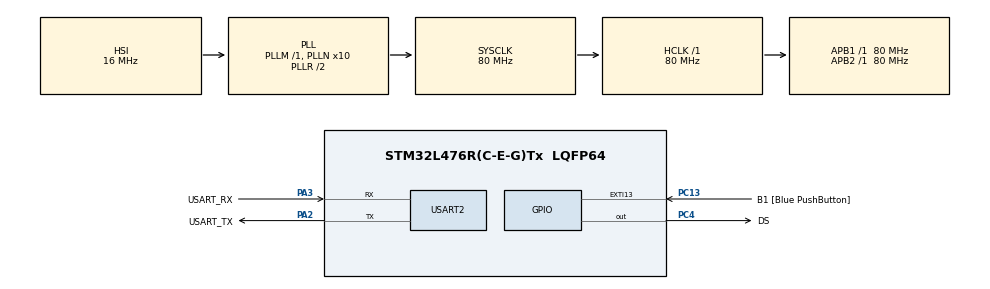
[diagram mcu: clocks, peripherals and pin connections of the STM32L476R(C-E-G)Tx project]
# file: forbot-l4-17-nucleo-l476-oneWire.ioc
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Mcu.Family=STM32L4
Mcu.Name=STM32L476R(C-E-G)Tx
Mcu.Package=LQFP64
NVIC.PriorityGroup=NVIC_PRIORITYGROUP_4
PA13\ (JTMS-SWDIO).GPIO_Label=TMS
PA13\ (JTMS-SWDIO).Signal=SYS_JTMS-SWDIO
PA14\ (JTCK-SWCLK).GPIO_Label=TCK
PA14\ (JTCK-SWCLK).Signal=SYS_JTCK-SWCLK
PA2.GPIO_Label=USART_TX
PA2.GPIO_Mode=GPIO_MODE_AF_PP
PA2.GPIO_PuPd=GPIO_NOPULL
PA2.GPIO_Speed=GPIO_SPEED_FREQ_VERY_HIGH
PA2.Mode=Asynchronous
PA2.Signal=USART2_TX
PA3.GPIO_Label=USART_RX
PA3.GPIO_Mode=GPIO_MODE_AF_PP
PA3.GPIO_PuPd=GPIO_NOPULL
PA3.GPIO_Speed=GPIO_SPEED_FREQ_VERY_HIGH
PA3.Mode=Asynchronous
PA3.Signal=USART2_RX
PB3\ (JTDO-TRACESWO).GPIO_Label=SWO
PB3\ (JTDO-TRACESWO).Signal=SYS_JTDO-SWO
PC13.GPIO_Label=B1 [Blue PushButton]
PC13.GPIO_ModeDefaultEXTI=GPIO_MODE_IT_FALLING
PC13.GPIO_PuPd=GPIO_NOPULL
PC13.Signal=GPXTI13
PC14-OSC32_IN\ (PC14).Signal=RCC_OSC32_IN
PC15-OSC32_OUT\ (PC15).Signal=RCC_OSC32_OUT
PC4.GPIO_Label=DS
PC4.GPIO_ModeDefaultOutputPP=GPIO_MODE_OUTPUT_OD
PC4.GPIO_PuPd=GPIO_NOPULL
PC4.PinState=GPIO_PIN_SET
PC4.Signal=GPIO_Output
PH0-OSC_IN\ (PH0).Signal=RCC_OSC_IN
PH1-OSC_OUT\ (PH1).Signal=RCC_OSC_OUT
ProjectManager.HeapSize=0x200
ProjectManager.StackSize=0x400
ProjectManager.TargetToolchain=STM32CubeIDE
RCC.ADCFreq_Value=64000000
RCC.AHBFreq_Value=80000000
RCC.APB1Freq_Value=80000000
RCC.APB1TimFreq_Value=80000000
RCC.APB2Freq_Value=80000000
RCC.APB2TimFreq_Value=80000000
RCC.CortexFreq_Value=80000000
RCC.HCLKFreq_Value=80000000
RCC.HSE_VALUE=8000000
RCC.HSI_VALUE=16000000
RCC.LSE_VALUE=32768
RCC.MSI_VALUE=4000000
RCC.PLLN=10
RCC.PLLSourceVirtual=RCC_PLLSOURCE_HSI
RCC.PREFETCH_ENABLE=1
RCC.SYSCLKFreq_VALUE=80000000
RCC.SYSCLKSource=RCC_SYSCLKSOURCE_PLLCLK
RCC.USBFreq_Value=64000000
RCC.VCOOutputFreq_Value=160000000
TIM6.Prescaler=79
USART2.VirtualMode-Asynchronous=VM_ASYNC
VP_TIM6_VS_ClockSourceINT.Mode=Enable_Timer
board=NUCLEO-L476RG

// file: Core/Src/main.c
/* USER CODE BEGIN Header */
/**
  ******************************************************************************
  * @file           : main.c
  * @brief          : Main program body
  ******************************************************************************
  * @attention
  *
  * Copyright (c) 2022 STMicroelectronics.
  * All rights reserved.
  *
  * This software is licensed under terms that can be found in the LICENSE file
  * in the root directory of this software component.
  * If no LICENSE file comes with this software, it is provided AS-IS.
  *
  ******************************************************************************
  */
/* USER CODE END Header */
#include "main.h"
#include "tim.h"
#include "usart.h"
#include "gpio.h"

/* USER CODE BEGIN Includes */

#include <stdio.h>
/* USER CODE END Includes */

void SystemClock_Config(void);
/* USER CODE BEGIN PFP */
void delay_us(uint32_t us);

int __io_putchar(int ch)
{
	if (ch == '\n') {
		__io_putchar('\r');
}
	HAL_UART_Transmit(&huart2, (uint8_t*)&ch, 1, HAL_MAX_DELAY);
	return 1;
}

HAL_StatusTypeDef wire_reset(void);

void write_bit(int value);

int read_bit(void);

void wire_write(uint8_t byte);

uint8_t wire_read(void);

uint8_t wire_crc(const uint8_t* data, int len);

uint8_t byte_crc(uint8_t crc, uint8_t byte);
/* USER CODE END PFP */

/* USER CODE BEGIN 0 */
void readROM(void); //task 1 z 17 oneWIRE
void readScratchpad(void);
void ReadTemp(void);

/* USER CODE END 0 */

int main(void)
{

  /* MCU Configuration--------------------------------------------------------*/

  /* Reset of all peripherals, Initializes the Flash interface and the Systick. */
  HAL_Init();

  /* Configure the system clock */
  SystemClock_Config();

  /* Initialize all configured peripherals */
  MX_GPIO_Init();
  MX_TIM6_Init();
  MX_USART2_UART_Init();
  /* USER CODE BEGIN 2 */
//!!!!!!!!!!!!!!!!!!!!!!!!!!!!!!!!!! Myfking code
  //readROM();
  //readScratchpad(); //without reset retun 85stC
  ReadTemp();

  /* USER CODE END 2 */

  /* Infinite loop */
  while (1)
  {

  }
}

void SystemClock_Config(void)
{
  RCC_OscInitTypeDef RCC_OscInitStruct = {0};
  RCC_ClkInitTypeDef RCC_ClkInitStruct = {0};

  /** Configure the main internal regulator output voltage
  */
  if (HAL_PWREx_ControlVoltageScaling(PWR_REGULATOR_VOLTAGE_SCALE1) != HAL_OK)
  {
    Error_Handler();
  }

  /** Initializes the RCC Oscillators according to the specified parameters
  * in the RCC_OscInitTypeDef structure.
  */
  RCC_OscInitStruct.OscillatorType = RCC_OSCILLATORTYPE_HSI;
  RCC_OscInitStruct.HSIState = RCC_HSI_ON;
  RCC_OscInitStruct.HSICalibrationValue = RCC_HSICALIBRATION_DEFAULT;
  RCC_OscInitStruct.PLL.PLLState = RCC_PLL_ON;
  RCC_OscInitStruct.PLL.PLLSource = RCC_PLLSOURCE_HSI;
  RCC_OscInitStruct.PLL.PLLM = 1;
  RCC_OscInitStruct.PLL.PLLN = 10;
  RCC_OscInitStruct.PLL.PLLP = RCC_PLLP_DIV7;
  RCC_OscInitStruct.PLL.PLLQ = RCC_PLLQ_DIV2;
  RCC_OscInitStruct.PLL.PLLR = RCC_PLLR_DIV2;
  if (HAL_RCC_OscConfig(&RCC_OscInitStruct) != HAL_OK)
  {
    Error_Handler();
  }

  /** Initializes the CPU, AHB and APB buses clocks
  */
  RCC_ClkInitStruct.ClockType = RCC_CLOCKTYPE_HCLK|RCC_CLOCKTYPE_SYSCLK
                              |RCC_CLOCKTYPE_PCLK1|RCC_CLOCKTYPE_PCLK2;
  RCC_ClkInitStruct.SYSCLKSource = RCC_SYSCLKSOURCE_PLLCLK;
  RCC_ClkInitStruct.AHBCLKDivider = RCC_SYSCLK_DIV1;
  RCC_ClkInitStruct.APB1CLKDivider = RCC_HCLK_DIV1;
  RCC_ClkInitStruct.APB2CLKDivider = RCC_HCLK_DIV1;

  if (HAL_RCC_ClockConfig(&RCC_ClkInitStruct, FLASH_LATENCY_4) != HAL_OK)
  {
    Error_Handler();
  }
}

/* USER CODE BEGIN 4 */

void delay_us(uint32_t us)  //opznienie us
{
	__HAL_TIM_SET_COUNTER(&htim6, 0); //zerowanie licznika
	while (__HAL_TIM_GET_COUNTER(&htim6) < us) {} //jak doliczy do us
}

HAL_StatusTypeDef wire_reset(void) // sekwencja reset
{
	int rc;
	HAL_GPIO_WritePin(DS_GPIO_Port, DS_Pin, GPIO_PIN_RESET); //master
	delay_us(480);
	HAL_GPIO_WritePin(DS_GPIO_Port, DS_Pin, GPIO_PIN_SET);
	delay_us(70);
	rc = HAL_GPIO_ReadPin(DS_GPIO_Port, DS_Pin);	//slave musi powrocic na stan wysoki
	delay_us(410);

	if (rc == 0)
			return HAL_OK;
	else
			return HAL_ERROR;
}

void write_bit(int value) {

if (value) { //zapisanie 1
	HAL_GPIO_WritePin(DS_GPIO_Port, DS_Pin, GPIO_PIN_RESET);
	delay_us(6);
	HAL_GPIO_WritePin(DS_GPIO_Port, DS_Pin, GPIO_PIN_SET);
	delay_us(64);
} else { //zapisanie 0
	HAL_GPIO_WritePin(DS_GPIO_Port, DS_Pin, GPIO_PIN_RESET);
	delay_us(60);
	HAL_GPIO_WritePin(DS_GPIO_Port, DS_Pin, GPIO_PIN_SET);
	delay_us(10);
	}
}

int read_bit(void)
{
  int rc;
  HAL_GPIO_WritePin(DS_GPIO_Port, DS_Pin, GPIO_PIN_RESET);
  delay_us(6);
  HAL_GPIO_WritePin(DS_GPIO_Port, DS_Pin, GPIO_PIN_SET);
  delay_us(9);
  rc = HAL_GPIO_ReadPin(DS_GPIO_Port, DS_Pin); // jak to trwa ze on tak długo mierzy
  delay_us(55);
  return rc;
}

void wire_write(uint8_t byte) //przesylanie od najmniej znaczacego bitu, przesyłanie całego bajtu
{
  int i;
  for (i = 0; i < 8; i++) {
    write_bit(byte & 0x01);
    byte >>= 1;
  }
}

uint8_t wire_read(void) //czytanie calego bajta
{
  uint8_t value = 0;
  int i;
  for (i = 0; i < 8; i++) {
    value >>= 1;
    if (read_bit()) // w zaleznosci czy przeczytasz 0 czy nie to rob or albo i nie
      value |= 0x80;  // odczyt 1 0b1000 0000 mamy 1 wpis do value i przesuwamy, tak jak zawsze
  }
  return value;
}

uint8_t byte_crc(uint8_t crc, uint8_t byte) //algorytm CRC
{
  int i;
  for (i = 0; i < 8; i++) {
    uint8_t b = crc ^ byte;
    crc >>= 1;
    if (b & 0x01)
      crc ^= 0x8c;
    byte >>= 1;
  }
  return crc;
}

uint8_t wire_crc(const uint8_t* data, int len) //wykonanie CRC na zadanej liczbie bajtow
{
  int i;
    uint8_t crc = 0;

    for (i = 0; i < len; i++)
      crc = byte_crc(crc, data[i]);

    return crc;
}

void readROM(void) { //odczytywanie adresu
	HAL_TIM_Base_Start(&htim6);

	HAL_StatusTypeDef rc = wire_reset();

	wire_write(0x33); // Read ROM

	  int i;
	  uint8_t rom_code[8];
	  for (i = 0; i < 8; i++)
	    rom_code[i] = wire_read(); //czujnik odsyła 8 bajtow

	  uint8_t crc = wire_crc(rom_code, 7); // 7 bo do petli
}

void readScratchpad(void){
	HAL_TIM_Base_Start(&htim6);

	wire_reset();
	wire_write(0xcc); //skip rom
	wire_write(0xbe); //read scrachpad

	int i;
	uint8_t scratchpad[9];
	for (i = 0; i < 9; i++)
	  scratchpad[i] = wire_read();

	uint8_t crc = wire_crc(scratchpad, 8);
}

void ReadTemp(void) {

	HAL_TIM_Base_Start(&htim6);

	wire_reset();
	wire_write(0xcc);
	wire_write(0x44);

	HAL_Delay(750);

	wire_reset();
	wire_write(0xcc);
	wire_write(0xbe);

	int i;
	uint8_t scratchpad[9];
	for (i = 0; i < 9; i++)
	  scratchpad[i] = wire_read();

	uint8_t crc = wire_crc(scratchpad, 8);

	uint32_t temp = (uint32_t)(scratchpad[1] << 8);

	temp |= scratchpad[0];

	//float solveTemp = temp/16;

}

/* USER CODE END 4 */

void Error_Handler(void)
{
  __disable_irq();
  while (1)
  {
  }
}
